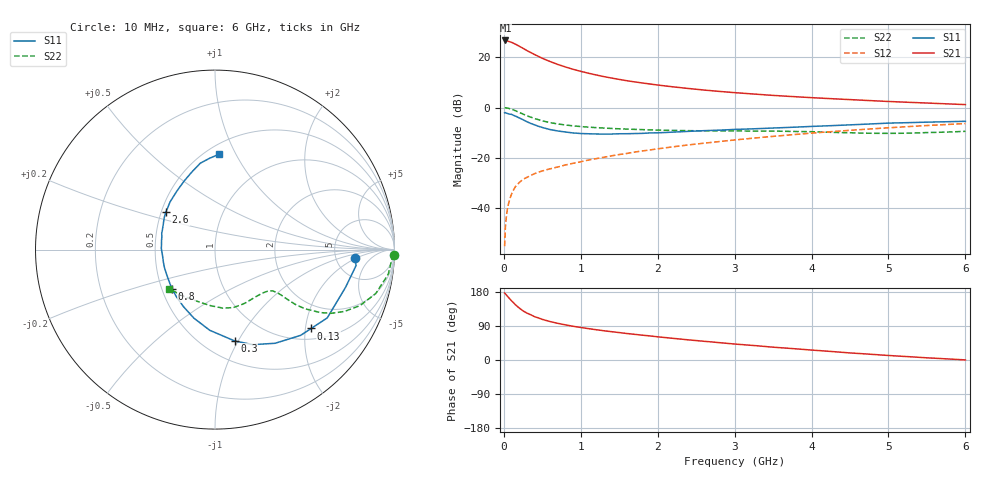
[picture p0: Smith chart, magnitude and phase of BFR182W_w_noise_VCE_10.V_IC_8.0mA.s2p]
! Infineon Technologies  Discrete & RF Semiconductors
! BFR182W
! VCE =  10. V,  IC =  8.0 mA
! Common Emitter S-Parameters:  Jan 2017
# GHz  S  MA  R  50
!  f  S11  S21  S12  S22
! GHz  MAG  ANG  MAG  ANG  MAG  ANG  MAG  ANG
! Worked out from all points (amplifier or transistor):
!   77 points, 10 MHz to 6 GHz, reference 50 ohm
!   highest |S21| = 26.8 dB at 20 MHz (marker M1)
!   |S21| within 3 dB of that: start of sweep to 241.7 MHz
!   unconditionally stable (mu >= 1): 1.186 GHz to 2.713 GHz
!   at 130 MHz: K = 0.24, MSG = 29.2 dB, |S12| = -32.7 dB
!   at 2.2 GHz: K = 1.03, MAG = 10.9 dB, |S12| = -15.7 dB
!   at 6 GHz: K = 0.85, MSG = 3.8 dB, |S12| = -6.4 dB
!   lowest NFmin = 1.00 dB at 450 MHz
!   S11 on the Smith chart (normalised r, x): 10 MHz: 7.82, -1.83; 130 MHz: 1.27, -2.15; 300 MHz: 0.69, -0.97; 800 MHz: 0.56, -0.28; 2.6 GHz: 0.53, +0.25; 6 GHz: 0.58, +0.86
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0.01  0.784 -3.3  21.84 176.7  0.0017 88.7  0.9958 -1.6
0.02  0.7907 -6.5  21.85 174.7  0.004 88.3  0.986 -3.3
0.05  0.7575 -16.0  21.29 167.5  0.0101 82.3  0.9751 -8.1
0.1  0.7321 -31.3  20.08 156.1  0.0186 74.9  0.9287 -15.3
0.13  0.6932 -39.3  19.05 150.2  0.0231 71.3  0.8891 -18.7
0.15  0.6754 -45.0  18.48 145.9  0.0262 69.6  0.8646 -21.2
0.2  0.6202 -57.3  16.79 137.1  0.0317 65.5  0.8 -25.5
0.25  0.5699 -68.3  15.22 129.6  0.0369 61.9  0.7391 -28.7
0.3  0.5203 -77.9  13.73 123.7  0.0402 60.4  0.6835 -30.9
0.4  0.4506 -93.7  11.41 114.2  0.0478 58.5  0.6011 -33.3
0.5  0.399 -107.3  9.617 107.2  0.0541 58.3  0.542 -34.3
0.6  0.3631 -118.9  8.302 101.5  0.0596 58.2  0.5 -34.5
0.7  0.3399 -129.0  7.261 96.8  0.0648 59.7  0.4699 -34.5
0.8  0.3244 -137.7  6.463 92.7  0.0712 60.9  0.4477 -34.5
1.1  0.2991 -160.2  4.841 82.8  0.0894 62.5  0.4061 -35.2
1.5  0.2991 178.9  3.64 72.4  0.1149 64.1  0.3756 -38.0
2.1  0.317 156.3  2.698 59.2  0.1567 63.8  0.3514 -46.3
2.6  0.3447 142.6  2.235 49.4  0.1937 62.3  0.3427 -55.5
3.1  0.369 131.1  1.932 40.6  0.2327 59.6  0.3398 -65.0
4.1  0.4247 112.6  1.545 24.8  0.316 52.7  0.3248 -84.6
5.1  0.492 98.4  1.301 10.7  0.4022 43.8  0.3051 -113.1
6  0.5307 87.7  1.144 0.2  0.4779 34.9  0.3346 -139.6
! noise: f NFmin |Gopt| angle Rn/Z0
0.45  1  0.12  39  0.15
0.9  1.08  0.12  69  0.15
1.9  1.59  0.18  -174  0.13
2.4  1.85  0.18  -169  0.19
